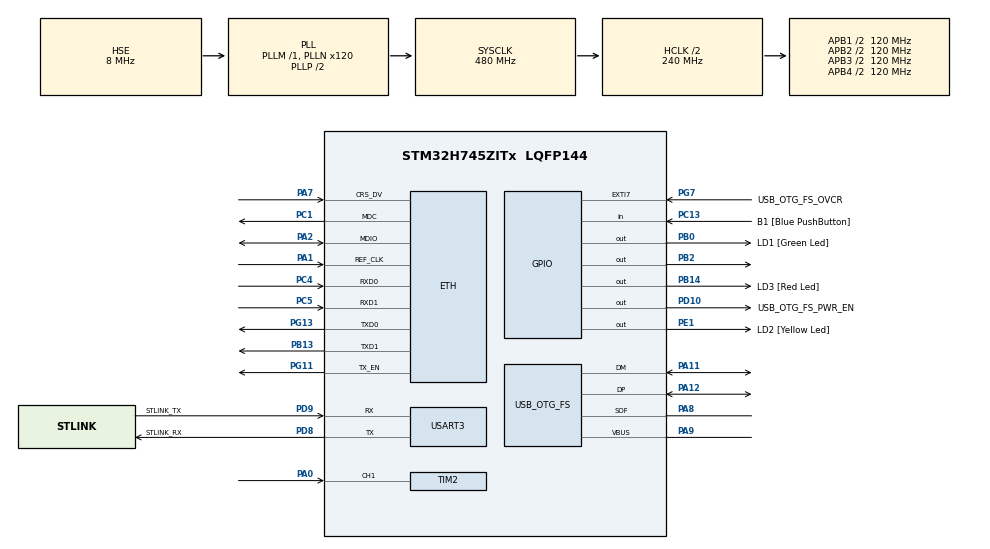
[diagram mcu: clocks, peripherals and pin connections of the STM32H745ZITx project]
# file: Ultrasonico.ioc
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CortexM4.IPs=FATFS_M4\:I,FREERTOS_M4\:I,IWDG2\:I,RCC,WWDG2\:I,DMA,BDMA,MDMA,NVIC2\:I,USART3,ETH,DEBUG,USB_DEVICE_M4\:I,USB_HOST_M4\:I,PDM2PCM_M4\:I,PWR,RESMGR_UTILITY,SYS_M4\:I,CORTEX_M4\:I,OPENAMP_M4\:I,VREFBUF,GPIO
CortexM7.IPs=FATFS_M7\:I,FREERTOS_M7\:I,IWDG1\:I,RCC\:I,WWDG1\:I,DMA\:I,BDMA\:I,MDMA\:I,NVIC1\:I,SYS\:I,USART3\:I,USB_OTG_FS\:I,ETH\:I,CORTEX_M7\:I,DEBUG\:I,USB_DEVICE_M7\:I,USB_HOST_M7\:I,PDM2PCM_M7\:I,PWR\:I,RESMGR_UTILITY\:I,OPENAMP_M7\:I,VREFBUF\:I,GPIO\:I,TIM2\:I,TIM12\:I
CortexM7.Pins=PB2
ETH.MediaInterface=HAL_ETH_RMII_MODE
FREERTOS_M7.Tasks01=defaultTask,24,128,StartDefaultTask,Default,NULL,Dynamic,NULL,NULL;UltrasonicTask,24,128,StartTaskUltrasonic,Default,NULL,Dynamic,NULL,NULL;LedTask,24,128,StartTaskLed,Default,NULL,Dynamic,NULL,NULL
FREERTOS_M7.configUSE_NEWLIB_REENTRANT=1
Mcu.Family=STM32H7
Mcu.Name=STM32H745ZITx
Mcu.Package=LQFP144
NVIC1.PriorityGroup=NVIC_PRIORITYGROUP_4
NVIC1.TIM2_IRQn=true\:5\:0\:false\:false\:true\:true\:true\:true\:true
NVIC1.TIM8_BRK_TIM12_IRQn=true\:15\:0\:false\:false\:true\:false\:false\:true\:true
NVIC1.TimeBase=TIM8_BRK_TIM12_IRQn
NVIC1.TimeBaseIP=TIM12
NVIC1.USART3_IRQn=true\:5\:0\:false\:false\:true\:true\:true\:true\:true
NVIC2.PriorityGroup=NVIC_PRIORITYGROUP_4
PA0.PinAttribute=CortexM7
PA0.Signal=S_TIM2_CH1_ETR
PA1.Mode=RMII
PA1.PinAttribute=CortexM7
PA1.Signal=ETH_REF_CLK
PA11.Mode=Device_Only
PA11.PinAttribute=CortexM7
PA11.Signal=USB_OTG_FS_DM
PA12.Mode=Device_Only
PA12.PinAttribute=CortexM7
PA12.Signal=USB_OTG_FS_DP
PA2.Mode=RMII
PA2.PinAttribute=CortexM7
PA2.Signal=ETH_MDIO
PA7.Mode=RMII
PA7.PinAttribute=CortexM7
PA7.Signal=ETH_CRS_DV
PA8.Mode=Activate_SOF_FS
PA8.PinAttribute=CortexM7
PA8.Signal=USB_OTG_FS_SOF
PA9.Mode=Activate_VBUS
PA9.PinAttribute=CortexM7
PA9.Signal=USB_OTG_FS_VBUS
PB0.GPIO_Label=LD1 [Green Led]
PB0.PinAttribute=Free
PB0.Signal=GPIO_Output
PB13.Mode=RMII
PB13.PinAttribute=CortexM7
PB13.Signal=ETH_TXD1
PB14.GPIO_Label=LD3 [Red Led]
PB14.PinAttribute=Free
PB14.Signal=GPIO_Output
PB2.PinAttribute=CortexM7
PB2.Signal=GPIO_Output
PC1.Mode=RMII
PC1.PinAttribute=CortexM7
PC1.Signal=ETH_MDC
PC13.GPIO_Label=B1 [Blue PushButton]
PC13.PinAttribute=Free
PC13.Signal=GPIO_Input
PC14-OSC32_IN\ (OSC32_IN).Mode=LSE-External-Oscillator
PC14-OSC32_IN\ (OSC32_IN).PinAttribute=CortexM7
PC14-OSC32_IN\ (OSC32_IN).Signal=RCC_OSC32_IN
PC15-OSC32_OUT\ (OSC32_OUT).Mode=LSE-External-Oscillator
PC15-OSC32_OUT\ (OSC32_OUT).PinAttribute=CortexM7
PC15-OSC32_OUT\ (OSC32_OUT).Signal=RCC_OSC32_OUT
PC4.Mode=RMII
PC4.PinAttribute=CortexM7
PC4.Signal=ETH_RXD0
PC5.Mode=RMII
PC5.PinAttribute=CortexM7
PC5.Signal=ETH_RXD1
PD10.GPIO_Label=USB_OTG_FS_PWR_EN
PD10.PinAttribute=Free
PD10.Signal=GPIO_Output
PD8.GPIO_Label=STLINK_RX
PD8.Mode=Asynchronous
PD8.PinAttribute=CortexM7
PD8.Signal=USART3_TX
PD9.GPIO_Label=STLINK_TX
PD9.Mode=Asynchronous
PD9.PinAttribute=CortexM7
PD9.Signal=USART3_RX
PE1.GPIO_Label=LD2 [Yellow Led]
PE1.PinAttribute=Free
PE1.Signal=GPIO_Output
PG11.Mode=RMII
PG11.PinAttribute=CortexM7
PG11.Signal=ETH_TX_EN
PG13.Mode=RMII
PG13.PinAttribute=CortexM7
PG13.Signal=ETH_TXD0
PG7.GPIO_Label=USB_OTG_FS_OVCR
PG7.PinAttribute=Free
PG7.Signal=GPXTI7
PH0-OSC_IN\ (PH0).Mode=HSE-External-Clock-Source
PH0-OSC_IN\ (PH0).PinAttribute=CortexM7
PH0-OSC_IN\ (PH0).Signal=RCC_OSC_IN
PH1-OSC_OUT\ (PH1).PinAttribute=CortexM7
PH1-OSC_OUT\ (PH1).Signal=RCC_OSC_OUT
ProjectManager.HeapSize=M4-0x200,M7-0x200
ProjectManager.StackSize=M4-0x400,M7-0x400
ProjectManager.TargetToolchain=STM32CubeIDE
RCC.ADCFreq_Value=16125000
RCC.APB1Freq_Value=120000000
RCC.APB2Freq_Value=120000000
RCC.APB3Freq_Value=120000000
RCC.APB4Freq_Value=120000000
RCC.CortexFreq_Value=480000000
RCC.D1PPRE=RCC_APB3_DIV2
RCC.D2PPRE1=RCC_APB1_DIV2
RCC.D2PPRE2=RCC_APB2_DIV2
RCC.D3PPRE=RCC_APB4_DIV2
RCC.DIVM1=1
RCC.DIVM3=1
RCC.DIVN1=120
RCC.DIVN3=24
RCC.DIVQ3=4
RCC.HCLKFreq_Value=240000000
RCC.HPRE=RCC_HCLK_DIV2
RCC.HSE_VALUE=8000000
RCC.PLL2FRACN=0
RCC.PLL3FRACN=0
RCC.PLLFRACN=0
RCC.SYSCLKFreq_VALUE=480000000
RCC.SYSCLKSource=RCC_SYSCLKSOURCE_PLLCLK
RCC.SupplySource=PWR_LDO_SUPPLY
RCC.USBCLockSelection=RCC_USBCLKSOURCE_PLL3
RCC.USBFreq_Value=48000000
SH.S_TIM2_CH1_ETR.0=TIM2_CH1,Input_Capture1_from_TI1
TIM2.Channel-Input_Capture1_from_TI1=TIM_CHANNEL_1
TIM2.Prescaler=39
USART3.VirtualMode-Asynchronous=VM_ASYNC
USB_OTG_FS.VirtualMode=Device_Only
VP_FREERTOS_M7_VS_CMSIS_V2.Mode=CMSIS_V2
VP_SYS_M4_VS_Systick.Mode=SysTick
VP_SYS_VS_tim12.Mode=TIM12
VP_TIM2_VS_ClockSourceINT.Mode=Internal
board=NUCLEO-H745ZI-Q

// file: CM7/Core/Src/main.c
/* USER CODE BEGIN Header */
/**
  ******************************************************************************
  * @file           : main.c
  * @brief          : Main program body
  ******************************************************************************
  * @attention
  *
  * Copyright (c) 2023 STMicroelectronics.
  * All rights reserved.
  *
  * This software is licensed under terms that can be found in the LICENSE file
  * in the root directory of this software component.
  * If no LICENSE file comes with this software, it is provided AS-IS.
  *
  ******************************************************************************
  */
/* USER CODE END Header */
#include "main.h"
#include "string.h"
#include "cmsis_os.h"

/* USER CODE BEGIN PD */

#ifndef HSEM_ID_0
#define HSEM_ID_0 (0U) /* HW semaphore 0*/
#endif
/* USER CODE END PD */

#if defined ( __ICCARM__ ) /*!< IAR Compiler */
#pragma location=0x30000000
ETH_DMADescTypeDef  DMARxDscrTab[ETH_RX_DESC_CNT]; /* Ethernet Rx DMA Descriptors */
#pragma location=0x30000200
ETH_DMADescTypeDef  DMATxDscrTab[ETH_TX_DESC_CNT]; /* Ethernet Tx DMA Descriptors */

#elif defined ( __CC_ARM )  /* MDK ARM Compiler */

__attribute__((at(0x30000000))) ETH_DMADescTypeDef  DMARxDscrTab[ETH_RX_DESC_CNT]; /* Ethernet Rx DMA Descriptors */
__attribute__((at(0x30000200))) ETH_DMADescTypeDef  DMATxDscrTab[ETH_TX_DESC_CNT]; /* Ethernet Tx DMA Descriptors */

#elif defined ( __GNUC__ ) /* GNU Compiler */
ETH_DMADescTypeDef DMARxDscrTab[ETH_RX_DESC_CNT] __attribute__((section(".RxDecripSection"))); /* Ethernet Rx DMA Descriptors */
ETH_DMADescTypeDef DMATxDscrTab[ETH_TX_DESC_CNT] __attribute__((section(".TxDecripSection")));   /* Ethernet Tx DMA Descriptors */

#endif

ETH_TxPacketConfig TxConfig;

ETH_HandleTypeDef heth;

TIM_HandleTypeDef htim2;

UART_HandleTypeDef huart3;

PCD_HandleTypeDef hpcd_USB_OTG_FS;

/* Definitions for defaultTask */
osThreadId_t defaultTaskHandle;
const osThreadAttr_t defaultTask_attributes = {
  .name = "defaultTask",
  .stack_size = 128 * 4,
  .priority = (osPriority_t) osPriorityNormal,
};
/* Definitions for UltrasonicTask */
osThreadId_t UltrasonicTaskHandle;
const osThreadAttr_t UltrasonicTask_attributes = {
  .name = "UltrasonicTask",
  .stack_size = 128 * 4,
  .priority = (osPriority_t) osPriorityNormal,
};
/* Definitions for LedTask */
osThreadId_t LedTaskHandle;
const osThreadAttr_t LedTask_attributes = {
  .name = "LedTask",
  .stack_size = 128 * 4,
  .priority = (osPriority_t) osPriorityNormal,
};

void SystemClock_Config(void);
static void MX_GPIO_Init(void);
static void MX_ETH_Init(void);
static void MX_USART3_UART_Init(void);
static void MX_USB_OTG_FS_PCD_Init(void);
static void MX_TIM2_Init(void);
void StartDefaultTask(void *argument);
void StartTaskUltrasonic(void *argument);
void StartTaskLed(void *argument);

/* USER CODE BEGIN 0 */
float distancia;
uint8_t MSG[15] = {};
uint16_t T1,T2;

uint32_t IC_Val1 = 0;
uint32_t IC_Val2 = 0;
uint32_t Difference = 0;
uint8_t Is_First_Captured = 0;  // is the first value captured ?
uint16_t Distance  = 0;

#define TRIG_PIN GPIO_PIN_2
#define TRIG_PORT GPIOB

void HCSR04_Read(void)
{
	HAL_GPIO_WritePin(TRIG_PORT, TRIG_PIN, GPIO_PIN_SET);  // pull the TRIG pin HIGH
	osDelay(1);  // wait for 10 us //TODO: review if this delay is required, if it is, then need to consider this delay as part of the task that acquires data.

	HAL_GPIO_WritePin(TRIG_PORT, TRIG_PIN, GPIO_PIN_RESET);  // pull the TRIG pin low
	__HAL_TIM_ENABLE_IT(&htim2, TIM_IT_CC1);
}

// Let's write the callback function

void HAL_TIM_IC_CaptureCallback(TIM_HandleTypeDef *htim)
{

	if (htim->Channel == HAL_TIM_ACTIVE_CHANNEL_1)  // if the interrupt source is channel1
	{
		if (Is_First_Captured==0) // if the first value is not captured
		{
			IC_Val1 = HAL_TIM_ReadCapturedValue(htim, TIM_CHANNEL_1); // read the first value
			Is_First_Captured = 1;  // set the first captured as true
			// Now change the polarity to falling edge
			__HAL_TIM_SET_CAPTUREPOLARITY(htim, TIM_CHANNEL_1, TIM_INPUTCHANNELPOLARITY_FALLING);
		}

		else if (Is_First_Captured==1)   // if the first is already captured
		{
			IC_Val2 = HAL_TIM_ReadCapturedValue(htim, TIM_CHANNEL_1);  // read second value
			__HAL_TIM_SET_COUNTER(htim, 0);  // reset the counter

			if (IC_Val2 > IC_Val1)
			{
				Difference = IC_Val2-IC_Val1;
			}

			else if (IC_Val1 > IC_Val2)
			{
				Difference = (0xffff - IC_Val1) + IC_Val2;
			}

			Distance = Difference * .034/2 * 0.135;
			Is_First_Captured = 0; // set it back to false

			// set polarity to rising edge
			__HAL_TIM_SET_CAPTUREPOLARITY(htim, TIM_CHANNEL_1, TIM_INPUTCHANNELPOLARITY_RISING);
			__HAL_TIM_DISABLE_IT(&htim2, TIM_IT_CC1);
		}
	}
}
/* USER CODE END 0 */

int main(void)
{
/* USER CODE BEGIN Boot_Mode_Sequence_0 */
  int32_t timeout;
/* USER CODE END Boot_Mode_Sequence_0 */

/* USER CODE BEGIN Boot_Mode_Sequence_1 */
  /* Wait until CPU2 boots and enters in stop mode or timeout*/
  timeout = 0xFFFF;
  while((__HAL_RCC_GET_FLAG(RCC_FLAG_D2CKRDY) != RESET) && (timeout-- > 0));
  if ( timeout < 0 )
  {
  Error_Handler();
  }
/* USER CODE END Boot_Mode_Sequence_1 */
  /* MCU Configuration--------------------------------------------------------*/

  /* Reset of all peripherals, Initializes the Flash interface and the Systick. */
  HAL_Init();

  /* Configure the system clock */
  SystemClock_Config();
/* USER CODE BEGIN Boot_Mode_Sequence_2 */
/* When system initialization is finished, Cortex-M7 will release Cortex-M4 by means of
HSEM notification */
/*HW semaphore Clock enable*/
__HAL_RCC_HSEM_CLK_ENABLE();
/*Take HSEM */
HAL_HSEM_FastTake(HSEM_ID_0);
/*Release HSEM in order to notify the CPU2(CM4)*/
HAL_HSEM_Release(HSEM_ID_0,0);
/* wait until CPU2 wakes up from stop mode */
timeout = 0xFFFF;
while((__HAL_RCC_GET_FLAG(RCC_FLAG_D2CKRDY) == RESET) && (timeout-- > 0));
if ( timeout < 0 )
{
Error_Handler();
}
/* USER CODE END Boot_Mode_Sequence_2 */

  /* Initialize all configured peripherals */
  MX_GPIO_Init();
  MX_ETH_Init();
  MX_USART3_UART_Init();
  MX_USB_OTG_FS_PCD_Init();
  MX_TIM2_Init();
  /* USER CODE BEGIN 2 */

  HAL_TIM_IC_Start(&htim2, TIM_CHANNEL_1);
  /* USER CODE END 2 */

  /* Init scheduler */
  osKernelInitialize();

  /* Create the thread(s) */
  /* creation of defaultTask */
  defaultTaskHandle = osThreadNew(StartDefaultTask, NULL, &defaultTask_attributes);

  /* creation of UltrasonicTask */
  UltrasonicTaskHandle = osThreadNew(StartTaskUltrasonic, NULL, &UltrasonicTask_attributes);

  /* creation of LedTask */
  LedTaskHandle = osThreadNew(StartTaskLed, NULL, &LedTask_attributes);

  /* Start scheduler */
  osKernelStart();

  /* We should never get here as control is now taken by the scheduler */
  /* Infinite loop */
  /* USER CODE BEGIN WHILE */
  while (1)
  {

	  //HCSR04_Read();

	  //sprintf(MSG,"S= %d \r \n",Distance);
	  //HAL_UART_Transmit(&huart3, MSG, sizeof(MSG), 10);

    /* USER CODE END WHILE */

  }
}

void SystemClock_Config(void)
{
  RCC_OscInitTypeDef RCC_OscInitStruct = {0};
  RCC_ClkInitTypeDef RCC_ClkInitStruct = {0};

  /** Supply configuration update enable
  */
  HAL_PWREx_ConfigSupply(PWR_LDO_SUPPLY);

  /** Configure the main internal regulator output voltage
  */
  __HAL_PWR_VOLTAGESCALING_CONFIG(PWR_REGULATOR_VOLTAGE_SCALE1);

  while(!__HAL_PWR_GET_FLAG(PWR_FLAG_VOSRDY)) {}

  __HAL_RCC_SYSCFG_CLK_ENABLE();
  __HAL_PWR_VOLTAGESCALING_CONFIG(PWR_REGULATOR_VOLTAGE_SCALE0);

  while(!__HAL_PWR_GET_FLAG(PWR_FLAG_VOSRDY)) {}

  /** Initializes the RCC Oscillators according to the specified parameters
  * in the RCC_OscInitTypeDef structure.
  */
  RCC_OscInitStruct.OscillatorType = RCC_OSCILLATORTYPE_HSE;
  RCC_OscInitStruct.HSEState = RCC_HSE_BYPASS;
  RCC_OscInitStruct.PLL.PLLState = RCC_PLL_ON;
  RCC_OscInitStruct.PLL.PLLSource = RCC_PLLSOURCE_HSE;
  RCC_OscInitStruct.PLL.PLLM = 1;
  RCC_OscInitStruct.PLL.PLLN = 120;
  RCC_OscInitStruct.PLL.PLLP = 2;
  RCC_OscInitStruct.PLL.PLLQ = 2;
  RCC_OscInitStruct.PLL.PLLR = 2;
  RCC_OscInitStruct.PLL.PLLRGE = RCC_PLL1VCIRANGE_3;
  RCC_OscInitStruct.PLL.PLLVCOSEL = RCC_PLL1VCOWIDE;
  RCC_OscInitStruct.PLL.PLLFRACN = 0;
  if (HAL_RCC_OscConfig(&RCC_OscInitStruct) != HAL_OK)
  {
    Error_Handler();
  }

  /** Initializes the CPU, AHB and APB buses clocks
  */
  RCC_ClkInitStruct.ClockType = RCC_CLOCKTYPE_HCLK|RCC_CLOCKTYPE_SYSCLK
                              |RCC_CLOCKTYPE_PCLK1|RCC_CLOCKTYPE_PCLK2
                              |RCC_CLOCKTYPE_D3PCLK1|RCC_CLOCKTYPE_D1PCLK1;
  RCC_ClkInitStruct.SYSCLKSource = RCC_SYSCLKSOURCE_PLLCLK;
  RCC_ClkInitStruct.SYSCLKDivider = RCC_SYSCLK_DIV1;
  RCC_ClkInitStruct.AHBCLKDivider = RCC_HCLK_DIV2;
  RCC_ClkInitStruct.APB3CLKDivider = RCC_APB3_DIV2;
  RCC_ClkInitStruct.APB1CLKDivider = RCC_APB1_DIV2;
  RCC_ClkInitStruct.APB2CLKDivider = RCC_APB2_DIV2;
  RCC_ClkInitStruct.APB4CLKDivider = RCC_APB4_DIV2;

  if (HAL_RCC_ClockConfig(&RCC_ClkInitStruct, FLASH_LATENCY_4) != HAL_OK)
  {
    Error_Handler();
  }
}

static void MX_ETH_Init(void)
{

   static uint8_t MACAddr[6];

  heth.Instance = ETH;
  MACAddr[0] = 0x00;
  MACAddr[1] = 0x80;
  MACAddr[2] = 0xE1;
  MACAddr[3] = 0x00;
  MACAddr[4] = 0x00;
  MACAddr[5] = 0x00;
  heth.Init.MACAddr = &MACAddr[0];
  heth.Init.MediaInterface = HAL_ETH_RMII_MODE;
  heth.Init.TxDesc = DMATxDscrTab;
  heth.Init.RxDesc = DMARxDscrTab;
  heth.Init.RxBuffLen = 1524;

  if (HAL_ETH_Init(&heth) != HAL_OK)
  {
    Error_Handler();
  }

  memset(&TxConfig, 0 , sizeof(ETH_TxPacketConfig));
  TxConfig.Attributes = ETH_TX_PACKETS_FEATURES_CSUM | ETH_TX_PACKETS_FEATURES_CRCPAD;
  TxConfig.ChecksumCtrl = ETH_CHECKSUM_IPHDR_PAYLOAD_INSERT_PHDR_CALC;
  TxConfig.CRCPadCtrl = ETH_CRC_PAD_INSERT;

}

static void MX_TIM2_Init(void)
{

  TIM_ClockConfigTypeDef sClockSourceConfig = {0};
  TIM_MasterConfigTypeDef sMasterConfig = {0};
  TIM_IC_InitTypeDef sConfigIC = {0};

  htim2.Instance = TIM2;
  htim2.Init.Prescaler = 39;
  htim2.Init.CounterMode = TIM_COUNTERMODE_UP;
  htim2.Init.Period = 4294967295;
  htim2.Init.ClockDivision = TIM_CLOCKDIVISION_DIV1;
  htim2.Init.AutoReloadPreload = TIM_AUTORELOAD_PRELOAD_DISABLE;
  if (HAL_TIM_Base_Init(&htim2) != HAL_OK)
  {
    Error_Handler();
  }
  sClockSourceConfig.ClockSource = TIM_CLOCKSOURCE_INTERNAL;
  if (HAL_TIM_ConfigClockSource(&htim2, &sClockSourceConfig) != HAL_OK)
  {
    Error_Handler();
  }
  if (HAL_TIM_IC_Init(&htim2) != HAL_OK)
  {
    Error_Handler();
  }
  sMasterConfig.MasterOutputTrigger = TIM_TRGO_RESET;
  sMasterConfig.MasterSlaveMode = TIM_MASTERSLAVEMODE_DISABLE;
  if (HAL_TIMEx_MasterConfigSynchronization(&htim2, &sMasterConfig) != HAL_OK)
  {
    Error_Handler();
  }
  sConfigIC.ICPolarity = TIM_INPUTCHANNELPOLARITY_RISING;
  sConfigIC.ICSelection = TIM_ICSELECTION_DIRECTTI;
  sConfigIC.ICPrescaler = TIM_ICPSC_DIV1;
  sConfigIC.ICFilter = 0;
  if (HAL_TIM_IC_ConfigChannel(&htim2, &sConfigIC, TIM_CHANNEL_1) != HAL_OK)
  {
    Error_Handler();
  }

}

static void MX_USART3_UART_Init(void)
{

  huart3.Instance = USART3;
  huart3.Init.BaudRate = 115200;
  huart3.Init.WordLength = UART_WORDLENGTH_8B;
  huart3.Init.StopBits = UART_STOPBITS_1;
  huart3.Init.Parity = UART_PARITY_NONE;
  huart3.Init.Mode = UART_MODE_TX_RX;
  huart3.Init.HwFlowCtl = UART_HWCONTROL_NONE;
  huart3.Init.OverSampling = UART_OVERSAMPLING_16;
  huart3.Init.OneBitSampling = UART_ONE_BIT_SAMPLE_DISABLE;
  huart3.Init.ClockPrescaler = UART_PRESCALER_DIV1;
  huart3.AdvancedInit.AdvFeatureInit = UART_ADVFEATURE_NO_INIT;
  if (HAL_UART_Init(&huart3) != HAL_OK)
  {
    Error_Handler();
  }
  if (HAL_UARTEx_SetTxFifoThreshold(&huart3, UART_TXFIFO_THRESHOLD_1_8) != HAL_OK)
  {
    Error_Handler();
  }
  if (HAL_UARTEx_SetRxFifoThreshold(&huart3, UART_RXFIFO_THRESHOLD_1_8) != HAL_OK)
  {
    Error_Handler();
  }
  if (HAL_UARTEx_DisableFifoMode(&huart3) != HAL_OK)
  {
    Error_Handler();
  }

}

static void MX_USB_OTG_FS_PCD_Init(void)
{

  hpcd_USB_OTG_FS.Instance = USB_OTG_FS;
  hpcd_USB_OTG_FS.Init.dev_endpoints = 9;
  hpcd_USB_OTG_FS.Init.speed = PCD_SPEED_FULL;
  hpcd_USB_OTG_FS.Init.dma_enable = DISABLE;
  hpcd_USB_OTG_FS.Init.phy_itface = PCD_PHY_EMBEDDED;
  hpcd_USB_OTG_FS.Init.Sof_enable = DISABLE;
  hpcd_USB_OTG_FS.Init.low_power_enable = DISABLE;
  hpcd_USB_OTG_FS.Init.lpm_enable = DISABLE;
  hpcd_USB_OTG_FS.Init.battery_charging_enable = ENABLE;
  hpcd_USB_OTG_FS.Init.vbus_sensing_enable = ENABLE;
  hpcd_USB_OTG_FS.Init.use_dedicated_ep1 = DISABLE;
  if (HAL_PCD_Init(&hpcd_USB_OTG_FS) != HAL_OK)
  {
    Error_Handler();
  }

}

static void MX_GPIO_Init(void)
{
  GPIO_InitTypeDef GPIO_InitStruct = {0};

  /* GPIO Ports Clock Enable */
  __HAL_RCC_GPIOC_CLK_ENABLE();
  __HAL_RCC_GPIOH_CLK_ENABLE();
  __HAL_RCC_GPIOA_CLK_ENABLE();
  __HAL_RCC_GPIOB_CLK_ENABLE();
  __HAL_RCC_GPIOD_CLK_ENABLE();
  __HAL_RCC_GPIOG_CLK_ENABLE();

  /*Configure GPIO pin Output Level */
  HAL_GPIO_WritePin(GPIOB, GPIO_PIN_2, GPIO_PIN_RESET);

  /*Configure GPIO pin : PB2 */
  GPIO_InitStruct.Pin = GPIO_PIN_2;
  GPIO_InitStruct.Mode = GPIO_MODE_OUTPUT_PP;
  GPIO_InitStruct.Pull = GPIO_NOPULL;
  GPIO_InitStruct.Speed = GPIO_SPEED_FREQ_LOW;
  HAL_GPIO_Init(GPIOB, &GPIO_InitStruct);

}

void StartDefaultTask(void *argument)
{
  for(;;)
  {
    osDelay(1);
  }
}

void StartTaskUltrasonic(void *argument)
{
  /* USER CODE BEGIN StartTaskUltrasonic */
  /* Infinite loop */
  for(;;)
  {
    osDelay(100);//TODO: increase delay to shorten task periodicity (ms)

    HCSR04_Read();

   	sprintf(MSG,"S= %d \n",Distance);
   	HAL_UART_Transmit(&huart3, MSG, sizeof(MSG), 15);

  }
  /* USER CODE END StartTaskUltrasonic */
}

void StartTaskLed(void *argument)
{
  for(;;)
  {
    osDelay(1);
  }
}

void HAL_TIM_PeriodElapsedCallback(TIM_HandleTypeDef *htim)
{
  if (htim->Instance == TIM12) {
    HAL_IncTick();
  }
}

void Error_Handler(void)
{
  __disable_irq();
  while (1)
  {
  }
}
